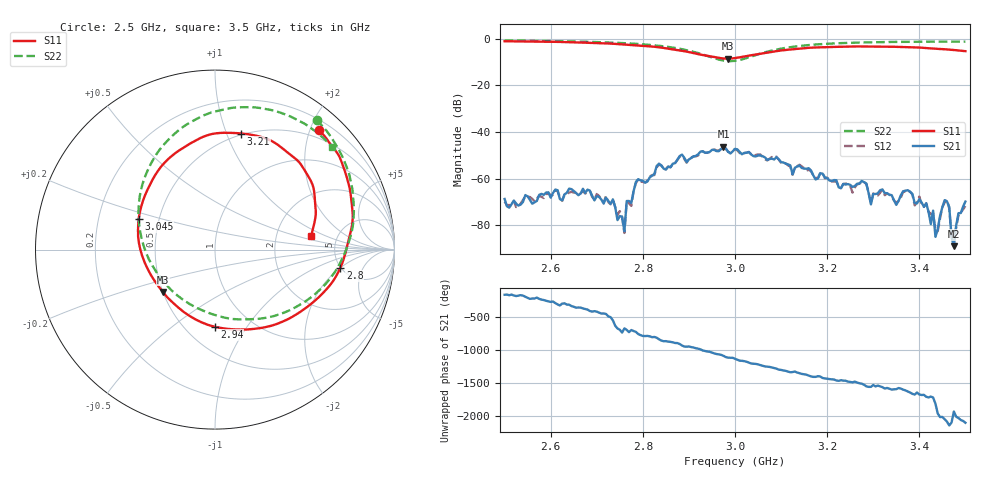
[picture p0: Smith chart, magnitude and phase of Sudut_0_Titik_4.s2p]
# Hz S RI R 50
! CMT, C1220, 16058040, 17.2.0/1
! Date: 15/08/2018 10:30:21
! Data: Format (Calibration Info)
! Freq  S11: Re/Im (F2)  S21: Re/Im (F2)  S12: Re/Im (F2)  S22: Re/Im (F2)
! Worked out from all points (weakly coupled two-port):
!   201 points, 2.5 GHz to 3.5 GHz, reference 50 ohm
!   highest |S21| = -46.31 dB at 2.975 GHz (marker M1); lowest = -88.9 dB at 3.475 GHz (marker M2)
!   lowest |S11| = -8.5 dB at 2.985 GHz (marker M3), VSWR 2.20, Z = 25 - j13.7 ohm
!   |S11| at or under -10 dB: nowhere
!   |S22| runs from -9.6 to -0.8 dB; largest |S21 - S12| = 0.00029
!   S11 on the Smith chart (normalised r, x): 2.5 GHz: 0.36, +2.14; 2.8 GHz: 4.94, -2.01; 2.94 GHz: 0.69, -0.72; 3.045 GHz: 0.38, +0.17; 3.21 GHz: 0.49, +1.13; 3.5 GHz: 3.18, +0.71
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2.5e9  0.5786 0.6663  -0.000361 -6.6e-05  -0.000319 -5.47e-05  0.5657 0.7218
2.67e9  0.7506 0.341  0.000585 -0.000164  0.00052 -0.000148  0.737 0.451
2.735e9  0.7653 0.151  -0.000348 9.32e-05  -0.000319 0.000157  0.7691 0.2878
2.76e9  0.7469 0.0621  5.43e-05 5.12e-05  4.54e-05 5.15e-05  0.7737 0.2133
2.765e9  0.7424 0.0439  0.00031 0.00012  0.000306 0.000135  0.773 0.1965
2.8e9  0.6979 -0.1021  0.000299 -0.00085  0.00035 -0.000782  0.7545 0.0722
2.835e9  0.6131 -0.2297  -0.00107 -0.0018  -0.000977 -0.00175  0.702 -0.0654
2.94e9  -0.00225 -0.4299  0.00208 0.00298  0.00204 0.00297  0.174 -0.3884
2.975e9  -0.2353 -0.2952  0.00476 -0.000842  0.00454 -0.000828  -0.1013 -0.3253
2.985e9  -0.291 -0.2358  0.003 -0.00233  0.00305 -0.00219  -0.1744 -0.2823
3e9  -0.3588 -0.1389  0.00254 -0.00353  0.00236 -0.0036  -0.272 -0.1955
3.045e9  -0.4254 0.172  -0.002 -0.00223  -0.00208 -0.00247  -0.4228 0.1399
3.17e9  -0.0067 0.6461  0.000983 0.00064  0.000923 0.000741  -0.0771 0.7415
3.21e9  0.1462 0.6468  0.000886 -5.61e-05  0.000854 -0.000157  0.0682 0.7848
3.285e9  0.3635 0.5735  -0.000267 -0.000744  -0.000227 -0.000738  0.289 0.7821
3.295e9  0.3873 0.5552  -0.000129 -0.00025  -0.000172 -0.00024  0.3142 0.7776
3.335e9  0.4703 0.4851  -0.000369 -0.000259  -0.000392 -0.000235  0.4043 0.7483
3.4e9  0.5494 0.3402  -0.000223 0.000288  -0.000229 0.000347  0.5206 0.6867
3.435e9  0.5585 0.2432  5.55e-05 -1.12e-05  6.6e-05 -4.7e-05  0.5725 0.6478
3.46e9  0.5599 0.1833  6.63e-05 0.000319  0.000135 0.000323  0.6062 0.6201
3.475e9  0.5531 0.1457  -2.25e-05 -2.78e-05  -5.28e-05 2.47e-05  0.6234 0.6026
3.5e9  0.5353 0.0785  0.000153 0.000284  0.000143 0.000217  0.652 0.573
